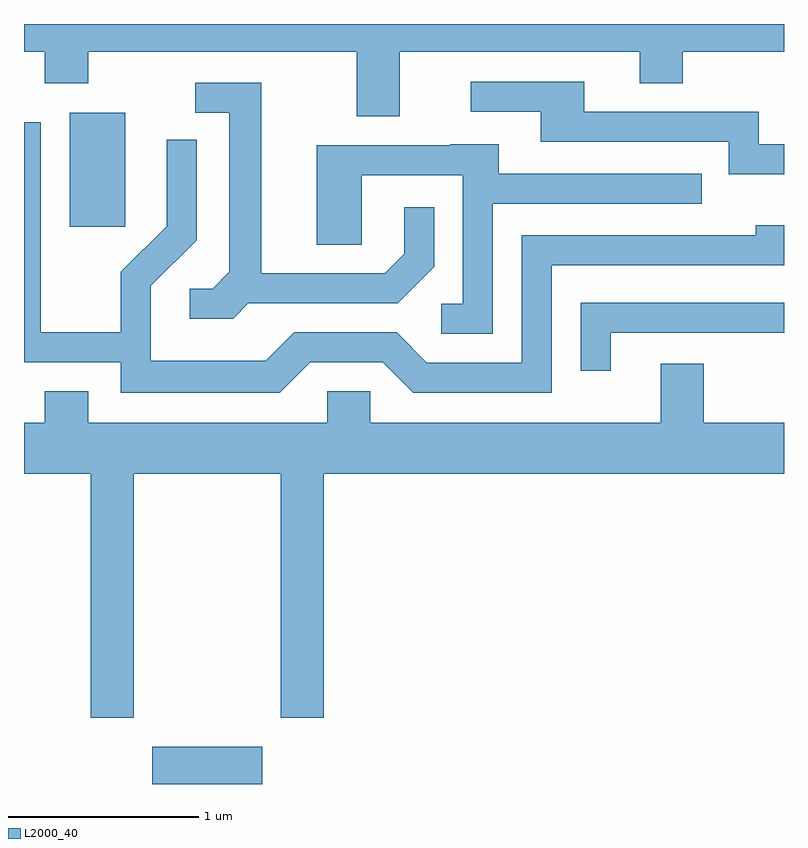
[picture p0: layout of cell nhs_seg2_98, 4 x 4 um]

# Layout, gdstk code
import gdstk
lib = gdstk.Library(unit=1e-6, precision=1e-09)
def R(c, l, rs):  # rectangles x0, y0, x1, y1
    for r in rs: c.add(gdstk.rectangle(r[:2], r[2:], *l))
def P(c, l, *ps):  # polygons
    for p in ps: c.add(gdstk.Polygon(p, *l))
L2000_40 = (2000, 40)

nhs_seg2_98 = lib.new_cell('nhs_seg2_98')
R(nhs_seg2_98, L2000_40, [(188.286,1037.802,188.864,1037.999), (187.851,1040.736,188.144,1041.334)])
P(nhs_seg2_98, L2000_40, [(189.589,1041.656),(190.851,1041.656),(190.851,1041.491),(191.079,1041.491),(191.079,1041.656),(191.611,1041.656),(191.611,1041.802),(187.611,1041.802),(187.611,1041.656),(187.721,1041.656),(187.721,1041.491),(187.949,1041.491),(187.949,1041.656),(189.361,1041.656),(189.361,1041.316),(189.589,1041.316)],
  [(191.611,1041.169),(191.479,1041.169),(191.479,1041.339),(190.559,1041.339),(190.559,1041.499),(189.963,1041.499),(189.963,1041.341),(190.331,1041.341),(190.331,1041.181),(191.321,1041.181),(191.321,1041.011),(191.611,1041.011)],
  [(188.792,1040.331),(189.577,1040.331),(189.769,1040.524),(189.769,1040.838),(189.611,1040.838),(189.611,1040.592),(189.509,1040.489),(188.859,1040.489),(188.859,1041.494),(188.513,1041.494),(188.513,1041.336),(188.691,1041.336),(188.691,1040.497),(188.604,1040.409),(188.483,1040.409),(188.483,1040.251),(188.712,1040.251)],
  [(189.117,1040.021),(189.499,1040.021),(189.659,1039.861),(190.389,1039.861),(190.389,1040.531),(191.611,1040.531),(191.611,1040.744),(191.461,1040.744),(191.461,1040.689),(190.231,1040.689),(190.231,1040.019),(189.732,1040.019),(189.572,1040.179),(189.034,1040.179),(188.884,1040.029),(188.279,1040.029),(188.279,1040.424),(188.519,1040.664),(188.519,1041.193),(188.361,1041.193),(188.361,1040.737),(188.121,1040.497),(188.121,1040.179),(187.699,1040.179),(187.699,1041.284),(187.611,1041.284),(187.611,1040.021),(188.121,1040.021),(188.121,1039.861),(188.957,1039.861)],
  [(190.079,1040.856),(191.178,1040.856),(191.178,1041.014),(190.109,1041.014),(190.109,1041.169),(189.855,1041.169),(189.855,1041.164),(189.151,1041.164),(189.151,1040.641),(189.389,1040.641),(189.389,1041.006),(189.921,1041.006),(189.921,1040.329),(189.808,1040.329),(189.808,1040.171),(190.079,1040.171)],
  [(190.699,1040.176),(191.611,1040.176),(191.611,1040.334),(190.541,1040.334),(190.541,1039.978),(190.699,1039.978)],
  [(188.189,1039.436),(188.961,1039.436),(188.961,1038.151),(189.189,1038.151),(189.189,1039.436),(191.611,1039.436),(191.611,1039.704),(191.189,1039.704),(191.189,1040.014),(190.961,1040.014),(190.961,1039.704),(189.434,1039.704),(189.434,1039.869),(189.206,1039.869),(189.206,1039.704),(187.949,1039.704),(187.949,1039.869),(187.721,1039.869),(187.721,1039.704),(187.611,1039.704),(187.611,1039.436),(187.961,1039.436),(187.961,1038.151),(188.189,1038.151)])

lib.write_gds('nhs_seg2_98.gds')
